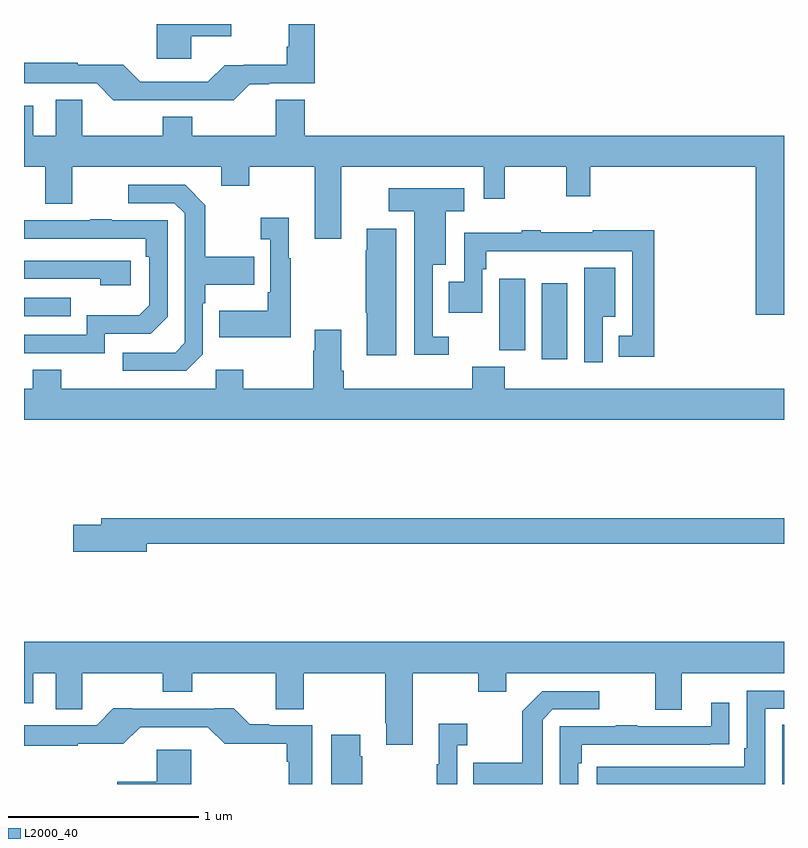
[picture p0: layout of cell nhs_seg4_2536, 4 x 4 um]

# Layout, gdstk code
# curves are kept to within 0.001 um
import gdstk
lib = gdstk.Library(unit=1e-6, precision=1e-09)
def R(c, l, rs):  # rectangles x0, y0, x1, y1
    for r in rs: c.add(gdstk.rectangle(r[:2], r[2:], *l))
def P(c, l, *ps):  # polygons
    for p in ps: c.add(gdstk.Polygon(p, *l))
L2000_40 = (2000, 40)

nhs_seg4_2536 = lib.new_cell('nhs_seg4_2536')
R(nhs_seg4_2536, L2000_40, [(246.99,798.9,247,799.211), (245.726,801.135,245.86,801.535), (245.501,801.182,245.638,801.559), (243,801.363,243.245,801.459)])
P(nhs_seg4_2536, L2000_40, [(243.571,802.5),(244.104,802.499),(244.187,802.582),(244.291,802.582),(244.291,802.587),(244.529,802.587),(244.529,802.9),(244.394,802.9),(244.394,802.78),(244.382,802.78),(244.382,802.686),(244.156,802.686),(244.156,802.684),(244.056,802.684),(243.968,802.596),(243.612,802.596),(243.522,802.686),(243.284,802.686),(243.284,802.696),(243,802.696),(243,802.587),(243.383,802.587),(243.471,802.499)],
  [(243.881,802.835),(244.09,802.835),(244.09,802.9),(243.698,802.9),(243.698,802.716),(243.881,802.716)],
  [(244.478,802.502),(244.325,802.502),(244.325,802.312),(243.885,802.312),(243.885,802.411),(243.73,802.411),(243.73,802.312),(243.307,802.312),(243.307,802.502),(243.167,802.502),(243.167,802.312),(243.049,802.312),(243.049,802.471),(243,802.471),(243,802.148),(243.113,802.148),(243.113,801.954),(243.253,801.954),(243.253,802.148),(244.037,802.148),(244.037,802.049),(244.185,802.049),(244.185,802.148),(244.529,802.148),(244.529,801.771),(244.669,801.771),(244.669,802.148),(245.421,802.148),(245.421,801.981),(245.53,801.981),(245.53,802.148),(245.853,802.148),(245.853,801.993),(245.981,801.993),(245.981,802.148),(246.851,802.148),(246.851,801.369),(247,801.369),(247,802.312),(244.478,802.312)],
  [(243.942,801.162),(243.942,801.431),(243.955,801.431),(243.955,801.527),(244.211,801.527),(244.211,801.675),(243.955,801.675),(243.955,801.947),(243.849,802.053),(243.549,802.053),(243.549,801.957),(243.792,801.957),(243.846,801.903),(243.846,801.222),(243.795,801.171),(243.519,801.171),(243.519,801.075),(243.855,801.075)],
  [(245.236,801.255),(245.151,801.255),(245.151,801.632),(245.221,801.632),(245.221,801.914),(245.317,801.914),(245.317,802.036),(244.92,802.036),(244.92,801.914),(245.055,801.914),(245.055,801.158),(245.236,801.158)],
  [(244.405,801.667),(244.393,801.667),(244.393,801.88),(244.245,801.88),(244.245,801.767),(244.296,801.767),(244.296,801.487),(244.284,801.487),(244.284,801.391),(244.027,801.391),(244.027,801.251),(244.405,801.251)],
  [(243.426,801.27),(243.666,801.27),(243.756,801.36),(243.756,801.867),(243.461,801.867),(243.461,801.872),(243.349,801.872),(243.349,801.867),(243,801.867),(243,801.771),(243.64,801.771),(243.64,801.674),(243.66,801.674),(243.66,801.42),(243.607,801.367),(243.33,801.367),(243.33,801.264),(243,801.264),(243,801.168),(243.426,801.168)],
  [(244.96,801.823),(244.805,801.823),(244.805,801.71),(244.798,801.71),(244.798,801.379),(244.805,801.379),(244.805,801.156),(244.96,801.156)],
  [(246.317,801.814),(245.994,801.814),(245.994,801.803),(245.719,801.803),(245.719,801.814),(245.619,801.814),(245.619,801.802),(245.316,801.802),(245.316,801.544),(245.236,801.544),(245.236,801.381),(245.412,801.381),(245.412,801.608),(245.432,801.608),(245.432,801.704),(245.852,801.704),(245.852,801.705),(246.201,801.705),(246.201,801.259),(246.13,801.259),(246.13,801.15),(246.317,801.15)],
  [(243.562,801.654),(243,801.654),(243,801.558),(243.401,801.558),(243.401,801.524),(243.562,801.524)],
  [(246.045,801.359),(246.112,801.359),(246.112,801.616),(245.949,801.616),(245.949,801.12),(246.045,801.12)],
  [(247,800.98),(245.53,800.98),(245.53,801.097),(245.36,801.097),(245.36,800.98),(244.682,800.98),(244.682,801.076),(244.669,801.076),(244.669,801.292),(244.529,801.292),(244.529,801.179),(244.522,801.179),(244.522,800.98),(244.155,800.98),(244.155,801.079),(244.008,801.079),(244.008,800.98),(243.195,800.98),(243.195,801.079),(243.047,801.079),(243.047,800.98),(243,800.98),(243,800.816),(247,800.816)],
  [(243.646,800.164),(247,800.164),(247,800.3),(243.407,800.3),(243.407,800.264),(243.258,800.264),(243.258,800.122),(243.646,800.122)],
  [(245.047,799.484),(245.392,799.484),(245.392,799.385),(245.539,799.385),(245.539,799.484),(246.323,799.484),(246.323,799.29),(246.463,799.29),(246.463,799.484),(247,799.484),(247,799.648),(243,799.648),(243,799.326),(243.049,799.326),(243.049,799.484),(243.167,799.484),(243.167,799.294),(243.307,799.294),(243.307,799.484),(243.73,799.484),(243.73,799.385),(243.885,799.385),(243.885,799.484),(244.325,799.484),(244.325,799.294),(244.473,799.294),(244.473,799.484),(244.9,799.484),(244.9,799.219),(244.907,799.219),(244.907,799.107),(245.047,799.107)],
  [(246.9,799.296),(247,799.296),(247,799.392),(246.804,799.392),(246.804,799.087),(246.791,799.087),(246.791,798.99),(246.015,798.99),(246.015,798.9),(246.9,798.9)],
  [(245.73,799.239),(245.784,799.293),(246.028,799.293),(246.028,799.389),(245.727,799.389),(245.622,799.283),(245.622,799.011),(245.365,799.011),(245.365,798.9),(245.73,798.9)],
  [(245.916,799.01),(245.936,799.01),(245.936,799.107),(246.611,799.107),(246.611,799.108),(246.713,799.108),(246.713,799.327),(246.617,799.327),(246.617,799.203),(246.227,799.203),(246.227,799.208),(246.115,799.208),(246.115,799.203),(245.82,799.203),(245.82,798.9),(245.916,798.9)],
  [(244.516,799.209),(244.291,799.209),(244.291,799.214),(244.187,799.214),(244.104,799.298),(244.004,799.298),(244.004,799.296),(243.571,799.296),(243.571,799.298),(243.471,799.298),(243.383,799.209),(243,799.209),(243,799.101),(243.284,799.101),(243.284,799.112),(243.523,799.112),(243.612,799.2),(243.968,799.2),(244.057,799.111),(244.382,799.111),(244.382,799.016),(244.394,799.016),(244.394,798.9),(244.516,798.9)],
  [(245.28,799.103),(245.332,799.103),(245.332,799.216),(245.183,799.216),(245.183,799.003),(245.172,799.003),(245.172,798.9),(245.28,798.9)],
  [(244.779,799.046),(244.771,799.046),(244.771,799.159),(244.616,799.159),(244.616,798.9),(244.779,798.9)],
  [(243.881,799.081),(243.698,799.081),(243.698,798.913),(243.492,798.913),(243.492,798.9),(243.881,798.9)])

lib.write_gds('nhs_seg4_2536.gds')
